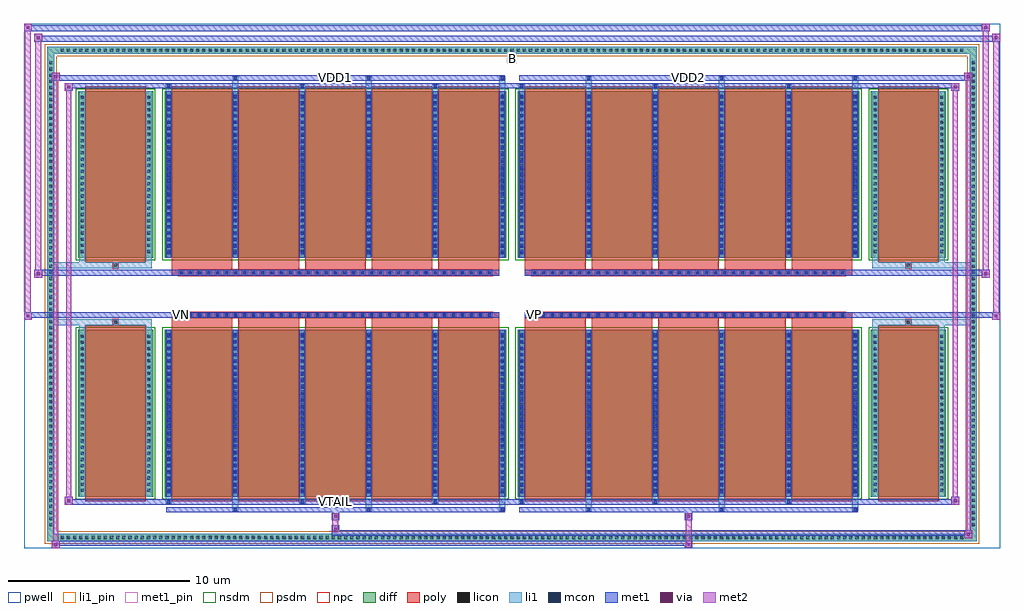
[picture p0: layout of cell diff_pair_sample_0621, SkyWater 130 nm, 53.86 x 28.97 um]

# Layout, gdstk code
import gdstk
lib = gdstk.Library(unit=1e-6, precision=5e-09)
def R(c, l, rs):  # rectangles x0, y0, x1, y1
    for r in rs: c.add(gdstk.rectangle(r[:2], r[2:], *l))
def A(c, l, x, y, w, h, nx, ny, dx, dy):  # array of equal rectangles
    R(c, l, [(x+i*dx, y+j*dy, x+i*dx+w, y+j*dy+h) for i in range(nx) for j in range(ny)])
def P(c, l, *ps):  # polygons
    for p in ps: c.add(gdstk.Polygon(p, *l))
pwell = (64, 44)
diff = (65, 20)
poly = (66, 20)
licon = (66, 44)
li1_pin = (67, 16)
li1 = (67, 20)
mcon = (67, 44)
met1_pin = (68, 16)
met1 = (68, 20)
via = (68, 44)
met2 = (69, 20)
nsdm = (93, 44)
psdm = (94, 20)
npc = (95, 20)

diff_pair_sample_0621 = lib.new_cell('diff_pair_sample_0621')
R(diff_pair_sample_0621, pwell, [(-26.93,-14.05,26.93,14.92), (-24.25,-12.24,-0.01,-0.8), (0.01,-12.24,24.25,-0.8), (-24.25,0.8,-0.01,12.24), (0.01,0.8,24.25,12.24)])
A(diff_pair_sample_0621, diff, -25.025, -13.65, 0.41, 0.41, 147, 2, 0.34, 26.89)
A(diff_pair_sample_0621, diff, -25.66, -12.955, 0.41, 0.41, 1, 76, 0, 0.34)
A(diff_pair_sample_0621, diff, 25.25, -12.955, 0.41, 0.41, 1, 76, 0, 0.34)
R(diff_pair_sample_0621, diff, [(-25.025,-13.65,25.025,-13.24), (-25.66,-12.955,-25.25,12.955), (25.25,-12.955,25.66,12.955), (-23.94,-11.195,-19.81,-1.985), (-19.17,-11.195,-0.32,-1.985), (0.32,-11.195,19.17,-1.985), (19.81,-11.195,23.94,-1.985), (-23.94,1.985,-19.81,11.195), (-19.17,1.985,-0.32,11.195), (0.32,1.985,19.17,11.195), (19.81,1.985,23.94,11.195), (-25.025,13.24,25.025,13.65)])
P(diff_pair_sample_0621, diff, [(25.66,13.65),(-25.66,13.65),(-25.66,-13.24),(-25.25,-13.24),(-25.25,13.24),(25.25,13.24),(25.25,-13.24),(-25.25,-13.24),(-25.66,-13.24),(-25.66,-13.65),(25.66,-13.65)])
A(diff_pair_sample_0621, poly, -18.78, -11.445, 3.35, 9.71, 5, 2, 3.68, 13.18)
A(diff_pair_sample_0621, poly, 0.71, -11.445, 3.35, 9.71, 5, 2, 3.68, 13.18)
A(diff_pair_sample_0621, poly, -18.78, -1.735, 3.35, 0.405, 5, 2, 3.68, 3.065)
A(diff_pair_sample_0621, poly, 0.71, -1.735, 3.35, 0.405, 5, 2, 3.68, 3.065)
A(diff_pair_sample_0621, poly, -18.41, -1.33, 0.33, 0.33, 35, 2, 0.5, 2.33)
A(diff_pair_sample_0621, poly, 1.08, -1.33, 0.33, 0.33, 35, 2, 0.5, 2.33)
R(diff_pair_sample_0621, poly, [(-23.55,-11.445,-20.2,-1.735), (20.2,-11.445,23.55,-1.735), (-22.04,-1.735,-21.71,-1.405), (-22.04,-1.735,-21.71,-1.405), (21.71,-1.735,22.04,-1.405), (21.71,-1.735,22.04,-1.405), (-18.78,-1.33,-0.71,-1), (0.71,-1.33,18.78,-1), (-18.78,1,-0.71,1.33), (0.71,1,18.78,1.33), (-22.04,1.405,-21.71,1.735), (-22.04,1.405,-21.71,1.735), (21.71,1.405,22.04,1.735), (21.71,1.405,22.04,1.735), (-23.55,1.735,-20.2,11.445), (20.2,1.735,23.55,11.445)])
A(diff_pair_sample_0621, licon, -24.905, -13.53, 0.17, 0.17, 147, 2, 0.34, 26.89)
A(diff_pair_sample_0621, licon, -25.54, -12.835, 0.17, 0.17, 1, 76, 0, 0.34)
A(diff_pair_sample_0621, licon, 25.37, -12.835, 0.17, 0.17, 1, 76, 0, 0.34)
A(diff_pair_sample_0621, licon, -23.8, -10.925, 0.17, 0.17, 1, 26, 0, 0.34)
A(diff_pair_sample_0621, licon, -20.12, -10.925, 0.17, 0.17, 1, 26, 0, 0.34)
A(diff_pair_sample_0621, licon, -19.03, -10.925, 0.17, 0.17, 6, 26, 3.68, 0.34)
A(diff_pair_sample_0621, licon, 0.46, -10.925, 0.17, 0.17, 6, 26, 3.68, 0.34)
A(diff_pair_sample_0621, licon, 19.95, -10.925, 0.17, 0.17, 1, 26, 0, 0.34)
A(diff_pair_sample_0621, licon, 23.63, -10.925, 0.17, 0.17, 1, 26, 0, 0.34)
A(diff_pair_sample_0621, licon, -18.33, -1.25, 0.17, 0.17, 35, 2, 0.5, 2.33)
A(diff_pair_sample_0621, licon, 1.16, -1.25, 0.17, 0.17, 35, 2, 0.5, 2.33)
A(diff_pair_sample_0621, licon, -23.8, 2.255, 0.17, 0.17, 1, 26, 0, 0.34)
A(diff_pair_sample_0621, licon, -20.12, 2.255, 0.17, 0.17, 1, 26, 0, 0.34)
A(diff_pair_sample_0621, licon, -19.03, 2.255, 0.17, 0.17, 6, 26, 3.68, 0.34)
A(diff_pair_sample_0621, licon, 0.46, 2.255, 0.17, 0.17, 6, 26, 3.68, 0.34)
A(diff_pair_sample_0621, licon, 19.95, 2.255, 0.17, 0.17, 1, 26, 0, 0.34)
A(diff_pair_sample_0621, licon, 23.63, 2.255, 0.17, 0.17, 1, 26, 0, 0.34)
R(diff_pair_sample_0621, licon, [(-21.96,-1.655,-21.79,-1.485), (21.79,-1.655,21.96,-1.485), (-21.96,1.485,-21.79,1.655), (21.79,1.485,21.96,1.655)])
R(diff_pair_sample_0621, li1_pin, [(-0.25,12.74,0.25,13.24)])
A(diff_pair_sample_0621, li1, -24.985, -13.61, 0.33, 0.33, 147, 2, 0.34, 26.89)
A(diff_pair_sample_0621, li1, -25.62, -12.915, 0.33, 0.33, 1, 76, 0, 0.34)
A(diff_pair_sample_0621, li1, 25.29, -12.915, 0.33, 0.33, 1, 76, 0, 0.34)
A(diff_pair_sample_0621, li1, -15.43, -12, 0.33, 0.805, 3, 2, 7.36, 23.195)
A(diff_pair_sample_0621, li1, -15.35, -12, 0.17, 0.17, 3, 2, 7.36, 23.83)
A(diff_pair_sample_0621, li1, 4.06, -12, 0.33, 0.805, 3, 2, 7.36, 23.195)
A(diff_pair_sample_0621, li1, 4.14, -12, 0.17, 0.17, 3, 2, 7.36, 23.83)
A(diff_pair_sample_0621, li1, -19.11, -11.57, 0.33, 0.375, 3, 2, 7.36, 22.765)
A(diff_pair_sample_0621, li1, -19.03, -11.57, 0.17, 0.17, 3, 2, 7.36, 22.97)
A(diff_pair_sample_0621, li1, 0.38, -11.57, 0.33, 0.375, 3, 2, 7.36, 22.765)
A(diff_pair_sample_0621, li1, 0.46, -11.57, 0.17, 0.17, 3, 2, 7.36, 22.97)
A(diff_pair_sample_0621, li1, -19.11, -11.195, 0.33, 9.21, 6, 2, 3.68, 13.18)
A(diff_pair_sample_0621, li1, 0.38, -11.195, 0.33, 9.21, 6, 2, 3.68, 13.18)
A(diff_pair_sample_0621, li1, -23.88, -11.005, 0.33, 0.33, 1, 26, 0, 0.34)
A(diff_pair_sample_0621, li1, -20.2, -11.005, 0.33, 0.33, 1, 26, 0, 0.34)
A(diff_pair_sample_0621, li1, -19.11, -11.005, 0.33, 0.33, 6, 26, 3.68, 0.34)
A(diff_pair_sample_0621, li1, 0.38, -11.005, 0.33, 0.33, 6, 26, 3.68, 0.34)
A(diff_pair_sample_0621, li1, 19.87, -11.005, 0.33, 0.33, 1, 26, 0, 0.34)
A(diff_pair_sample_0621, li1, 23.55, -11.005, 0.33, 0.33, 1, 26, 0, 0.34)
A(diff_pair_sample_0621, li1, -19.03, -10.995, 0.17, 0.17, 6, 25, 3.68, 0.36)
A(diff_pair_sample_0621, li1, -19.03, -10.995, 0.17, 8.81, 6, 2, 3.68, 13.18)
A(diff_pair_sample_0621, li1, 0.46, -10.995, 0.17, 0.17, 6, 25, 3.68, 0.36)
A(diff_pair_sample_0621, li1, 0.46, -10.995, 0.17, 8.81, 6, 2, 3.68, 13.18)
A(diff_pair_sample_0621, li1, -18.41, -1.33, 0.33, 0.33, 35, 2, 0.5, 2.33)
A(diff_pair_sample_0621, li1, 1.08, -1.33, 0.33, 0.33, 35, 2, 0.5, 2.33)
A(diff_pair_sample_0621, li1, -23.88, 2.175, 0.33, 0.33, 1, 26, 0, 0.34)
A(diff_pair_sample_0621, li1, -20.2, 2.175, 0.33, 0.33, 1, 26, 0, 0.34)
A(diff_pair_sample_0621, li1, -19.11, 2.175, 0.33, 0.33, 6, 26, 3.68, 0.34)
A(diff_pair_sample_0621, li1, 0.38, 2.175, 0.33, 0.33, 6, 26, 3.68, 0.34)
A(diff_pair_sample_0621, li1, 19.87, 2.175, 0.33, 0.33, 1, 26, 0, 0.34)
A(diff_pair_sample_0621, li1, 23.55, 2.175, 0.33, 0.33, 1, 26, 0, 0.34)
A(diff_pair_sample_0621, li1, -19.03, 2.185, 0.17, 0.17, 6, 25, 3.68, 0.36)
A(diff_pair_sample_0621, li1, 0.46, 2.185, 0.17, 0.17, 6, 25, 3.68, 0.36)
R(diff_pair_sample_0621, li1, [(-25.66,-13.65,-25.25,-13.24), (-25.66,-13.65,-25.25,-13.24), (-25.25,-13.65,25.25,-13.24), (25.25,-13.65,25.66,-13.24), (25.25,-13.65,25.66,-13.24), (-25.66,-13.24,-25.25,13.24), (25.25,-13.24,25.66,13.24), (-23.88,-11.195,-23.55,-1.985), (-20.2,-11.195,-19.87,-1.985), (19.87,-11.195,20.2,-1.985), (23.55,-11.195,23.88,-1.985), (-23.88,-1.985,-23.55,-1.405), (-20.2,-1.985,-19.87,-1.405), (19.87,-1.985,20.2,-1.405), (23.55,-1.985,23.88,-1.405), (-25.66,-1.735,-22.04,-1.405), (-23.88,-1.735,-22.04,-1.405), (-22.04,-1.735,-21.71,-1.405), (-21.71,-1.735,-19.87,-1.405), (19.87,-1.735,21.71,-1.405), (21.71,-1.735,22.04,-1.405), (21.71,-1.735,25.66,-1.405), (22.04,-1.735,23.88,-1.405), (-25.66,1.405,-22.04,1.735), (-23.88,1.405,-22.04,1.735), (-23.88,1.405,-23.55,1.985), (-22.04,1.405,-21.71,1.735), (-21.71,1.405,-19.87,1.735), (-20.2,1.405,-19.87,1.985), (19.87,1.405,21.71,1.735), (19.87,1.405,20.2,1.985), (21.71,1.405,22.04,1.735), (21.71,1.405,25.66,1.735), (22.04,1.405,23.88,1.735), (23.55,1.405,23.88,1.985), (-23.88,1.985,-23.55,11.195), (-20.2,1.985,-19.87,11.195), (19.87,1.985,20.2,11.195), (23.55,1.985,23.88,11.195), (-25.66,13.24,-25.25,13.65), (-25.66,13.24,-25.25,13.65), (-25.25,13.24,25.25,13.65), (25.25,13.24,25.66,13.65), (25.25,13.24,25.66,13.65)])
A(diff_pair_sample_0621, mcon, -15.35, -12, 0.17, 0.17, 3, 2, 7.36, 23.83)
A(diff_pair_sample_0621, mcon, 4.14, -12, 0.17, 0.17, 3, 2, 7.36, 23.83)
A(diff_pair_sample_0621, mcon, -19.03, -11.57, 0.17, 0.17, 3, 2, 7.36, 22.97)
A(diff_pair_sample_0621, mcon, 0.46, -11.57, 0.17, 0.17, 3, 2, 7.36, 22.97)
A(diff_pair_sample_0621, mcon, -19.03, -10.995, 0.17, 0.17, 6, 25, 3.68, 0.36)
A(diff_pair_sample_0621, mcon, 0.46, -10.995, 0.17, 0.17, 6, 25, 3.68, 0.36)
A(diff_pair_sample_0621, mcon, -18.33, -1.25, 0.17, 0.17, 35, 2, 0.5, 2.33)
A(diff_pair_sample_0621, mcon, 1.16, -1.25, 0.17, 0.17, 35, 2, 0.5, 2.33)
A(diff_pair_sample_0621, mcon, -19.03, 2.185, 0.17, 0.17, 6, 25, 3.68, 0.36)
A(diff_pair_sample_0621, mcon, 0.46, 2.185, 0.17, 0.17, 6, 25, 3.68, 0.36)
R(diff_pair_sample_0621, met1_pin, [(-9.88,-11.61,-9.61,-11.34), (-18.38,-1.29,-18.11,-1.02), (1.11,-1.29,1.38,-1.02), (-9.88,11.79,-9.61,12.06), (9.61,11.79,9.88,12.06)])
A(diff_pair_sample_0621, met1, -15.41, -12.06, 0.29, 0.29, 3, 2, 7.36, 23.83)
A(diff_pair_sample_0621, met1, 4.08, -12.06, 0.29, 0.29, 3, 2, 7.36, 23.83)
A(diff_pair_sample_0621, met1, -19.09, -11.63, 0.29, 0.29, 3, 2, 7.36, 22.97)
A(diff_pair_sample_0621, met1, 0.4, -11.63, 0.29, 0.29, 3, 2, 7.36, 22.97)
A(diff_pair_sample_0621, met1, -19.09, -11.195, 0.29, 9.21, 6, 2, 3.68, 13.18)
A(diff_pair_sample_0621, met1, 0.4, -11.195, 0.29, 9.21, 6, 2, 3.68, 13.18)
A(diff_pair_sample_0621, met1, -19.09, -11.055, 0.29, 0.29, 6, 25, 3.68, 0.36)
A(diff_pair_sample_0621, met1, 0.4, -11.055, 0.29, 0.29, 6, 25, 3.68, 0.36)
A(diff_pair_sample_0621, met1, -18.39, -1.31, 0.29, 0.29, 35, 2, 0.5, 2.33)
A(diff_pair_sample_0621, met1, 1.1, -1.31, 0.29, 0.29, 35, 2, 0.5, 2.33)
A(diff_pair_sample_0621, met1, -19.09, 2.125, 0.29, 0.29, 6, 25, 3.68, 0.36)
A(diff_pair_sample_0621, met1, 0.4, 2.125, 0.29, 0.29, 6, 25, 3.68, 0.36)
R(diff_pair_sample_0621, met1, [(-25.39,-14.05,-24.96,-13.62), (9.53,-14.05,9.96,-13.62), (-25.39,-13.91,9.96,-13.62), (24.96,-13.48,25.39,-13.05), (-9.96,-13.34,25.39,-13.05), (-9.96,-13.2,-9.53,-12.77), (-9.96,-12.49,-9.53,-12.06), (9.53,-12.49,9.96,-12.06), (-19.09,-12.06,-0.4,-11.77), (0.4,-12.06,19.09,-11.77), (-24.68,-11.63,-24.25,-11.2), (-24.68,-11.63,-19.09,-11.34), (-19.09,-11.63,-0.4,-11.34), (-0.4,-11.63,0.4,-11.34), (0.4,-11.63,19.09,-11.34), (19.09,-11.63,24.68,-11.34), (24.25,-11.63,24.68,-11.2), (-26.93,-1.43,-26.5,-1), (26.5,-1.43,26.93,-1), (-26.93,-1.33,-0.71,-1), (-18.78,-1.33,-0.71,-1), (0.71,-1.33,18.78,-1), (0.71,-1.33,26.93,-1), (-26.36,0.9,-25.93,1.33), (25.93,0.9,26.36,1.33), (-26.36,1,-18.78,1.33), (-18.78,1,-0.71,1.33), (0.71,1,18.78,1.33), (18.78,1,26.36,1.33), (-24.68,11.2,-24.25,11.63), (24.25,11.2,24.68,11.63), (-24.68,11.34,-19.09,11.63), (-19.09,11.34,-0.4,11.63), (-0.4,11.34,0.4,11.63), (0.4,11.34,19.09,11.63), (19.09,11.34,24.68,11.63), (-25.39,11.77,-24.96,12.2), (-25.39,11.77,-19.09,12.06), (-19.09,11.77,-0.4,12.06), (0.4,11.77,19.09,12.06), (19.09,11.77,25.39,12.06), (24.96,11.77,25.39,12.2), (-26.36,13.92,-25.93,14.35), (-26.36,13.92,-24.25,14.25), (-24.25,13.92,24.25,14.25), (24.25,13.92,26.93,14.25), (26.5,13.92,26.93,14.35), (-26.93,14.49,-26.5,14.92), (-26.93,14.49,-24.25,14.82), (-24.25,14.49,24.25,14.82), (24.25,14.49,26.36,14.82), (25.93,14.49,26.36,14.92)])
R(diff_pair_sample_0621, via, [(-25.25,-13.91,-25.1,-13.76), (9.67,-13.91,9.82,-13.76), (25.1,-13.34,25.25,-13.19), (-9.82,-13.06,-9.67,-12.91), (-9.82,-12.35,-9.67,-12.2), (9.67,-12.35,9.82,-12.2), (-24.54,-11.49,-24.39,-11.34), (24.39,-11.49,24.54,-11.34), (-26.79,-1.29,-26.64,-1.14), (26.64,-1.29,26.79,-1.14), (-26.22,1.04,-26.07,1.19), (26.07,1.04,26.22,1.19), (-24.54,11.34,-24.39,11.49), (24.39,11.34,24.54,11.49), (-25.25,11.91,-25.1,12.06), (25.1,11.91,25.25,12.06), (-26.22,14.06,-26.07,14.21), (26.64,14.06,26.79,14.21), (-26.79,14.63,-26.64,14.78), (26.07,14.63,26.22,14.78)])
R(diff_pair_sample_0621, met2, [(-25.39,-14.05,-24.96,-13.62), (-25.32,-14.05,-25.03,12.2), (-25.03,-14.05,-24.96,-13.62), (-25.34,-14,-25.01,-13.67), (9.58,-14,9.91,-13.67), (9.58,-13.67,9.91,-12.44), (24.96,-13.48,25.39,-13.05), (25.03,-13.48,25.32,12.2), (25.32,-13.48,25.39,-13.05), (25.01,-13.43,25.34,-13.1), (-9.91,-13.15,-9.58,-12.82), (-9.91,-12.82,-9.58,-12.44), (-9.91,-12.44,-9.58,-12.11), (9.58,-12.44,9.91,-12.11), (-24.68,-11.63,-24.25,-11.2), (-24.61,-11.63,-24.32,11.63), (-24.32,-11.63,-24.25,-11.2), (24.25,-11.63,24.68,-11.2), (24.32,-11.63,24.61,11.63), (24.61,-11.63,24.68,-11.2), (-24.63,-11.58,-24.3,-11.25), (24.3,-11.58,24.63,-11.25), (-26.93,-1.43,-26.5,-1), (-26.88,-1.43,-26.55,14.92), (-26.55,-1.43,-26.5,-1), (26.5,-1.43,26.93,-1), (26.55,-1.43,26.88,14.35), (26.88,-1.43,26.93,-1), (-26.88,-1.38,-26.55,-1.05), (26.55,-1.38,26.88,-1.05), (-26.36,0.9,-25.93,1.33), (-26.31,0.9,-25.98,14.35), (-25.98,0.9,-25.93,1.33), (25.93,0.9,26.36,1.33), (25.98,0.9,26.31,14.92), (26.31,0.9,26.36,1.33), (-26.31,0.95,-25.98,1.28), (25.98,0.95,26.31,1.28), (-24.68,11.2,-24.25,11.63), (-24.32,11.2,-24.25,11.63), (24.25,11.2,24.68,11.63), (24.61,11.2,24.68,11.63), (-24.63,11.25,-24.3,11.58), (24.3,11.25,24.63,11.58), (-25.39,11.77,-24.96,12.2), (-25.03,11.77,-24.96,12.2), (24.96,11.77,25.39,12.2), (25.32,11.77,25.39,12.2), (-25.34,11.82,-25.01,12.15), (25.01,11.82,25.34,12.15), (-26.36,13.92,-25.93,14.35), (-25.98,13.92,-25.93,14.35), (26.5,13.92,26.93,14.35), (26.88,13.92,26.93,14.35), (-26.31,13.97,-25.98,14.3), (26.55,13.97,26.88,14.3), (-26.93,14.49,-26.5,14.92), (-26.55,14.49,-26.5,14.92), (25.93,14.49,26.36,14.92), (26.31,14.49,26.36,14.92), (-26.88,14.54,-26.55,14.87), (25.98,14.54,26.31,14.87)])
R(diff_pair_sample_0621, nsdm, [(-24.07,-11.325,-19.68,-1.855), (-19.3,-11.325,-0.19,-1.855), (0.19,-11.325,19.3,-1.855), (19.68,-11.325,24.07,-1.855), (-24.07,1.855,-19.68,11.325), (-19.3,1.855,-0.19,11.325), (0.19,1.855,19.3,11.325), (19.68,1.855,24.07,11.325)])
P(diff_pair_sample_0621, psdm, [(25.79,13.78),(-25.79,13.78),(-25.79,-13.11),(-25.12,-13.11),(-25.12,13.11),(25.12,13.11),(25.12,-13.11),(-25.12,-13.11),(-25.79,-13.11),(-25.79,-13.78),(25.79,-13.78)])
A(diff_pair_sample_0621, npc, -18.43, -1.35, 0.37, 0.37, 35, 2, 0.5, 2.33)
A(diff_pair_sample_0621, npc, 1.06, -1.35, 0.37, 0.37, 35, 2, 0.5, 2.33)
R(diff_pair_sample_0621, npc, [(-22.06,-1.755,-21.69,-1.385), (21.69,-1.755,22.06,-1.385), (-18.43,-1.35,-17.56,-0.98), (-18.43,-1.35,-17.56,-0.98), (-17.93,-1.35,-17.06,-0.98), (-17.93,-1.35,-17.06,-0.98), (-17.43,-1.35,-16.56,-0.98), (-17.43,-1.35,-16.56,-0.98), (-16.93,-1.35,-16.06,-0.98), (-16.93,-1.35,-16.06,-0.98), (-16.43,-1.35,-15.56,-0.98), (-16.43,-1.35,-15.56,-0.98), (-15.93,-1.35,-15.06,-0.98), (-15.93,-1.35,-15.06,-0.98), (-15.43,-1.35,-14.56,-0.98), (-15.43,-1.35,-14.56,-0.98), (-14.93,-1.35,-14.06,-0.98), (-14.93,-1.35,-14.06,-0.98), (-14.43,-1.35,-13.56,-0.98), (-14.43,-1.35,-13.56,-0.98), (-13.93,-1.35,-13.06,-0.98), (-13.93,-1.35,-13.06,-0.98), (-13.43,-1.35,-12.56,-0.98), (-13.43,-1.35,-12.56,-0.98), (-12.93,-1.35,-12.06,-0.98), (-12.93,-1.35,-12.06,-0.98), (-12.43,-1.35,-11.56,-0.98), (-12.43,-1.35,-11.56,-0.98), (-11.93,-1.35,-11.06,-0.98), (-11.93,-1.35,-11.06,-0.98), (-11.43,-1.35,-10.56,-0.98), (-11.43,-1.35,-10.56,-0.98), (-10.93,-1.35,-10.06,-0.98), (-10.93,-1.35,-10.06,-0.98), (-10.43,-1.35,-9.56,-0.98), (-10.43,-1.35,-9.56,-0.98), (-9.93,-1.35,-9.06,-0.98), (-9.93,-1.35,-9.06,-0.98), (-9.43,-1.35,-8.56,-0.98), (-9.43,-1.35,-8.56,-0.98), (-8.93,-1.35,-8.06,-0.98), (-8.93,-1.35,-8.06,-0.98), (-8.43,-1.35,-7.56,-0.98), (-8.43,-1.35,-7.56,-0.98), (-7.93,-1.35,-7.06,-0.98), (-7.93,-1.35,-7.06,-0.98), (-7.43,-1.35,-6.56,-0.98), (-7.43,-1.35,-6.56,-0.98), (-6.93,-1.35,-6.06,-0.98), (-6.93,-1.35,-6.06,-0.98), (-6.43,-1.35,-5.56,-0.98), (-6.43,-1.35,-5.56,-0.98), (-5.93,-1.35,-5.06,-0.98), (-5.93,-1.35,-5.06,-0.98), (-5.43,-1.35,-4.56,-0.98), (-5.43,-1.35,-4.56,-0.98), (-4.93,-1.35,-4.06,-0.98), (-4.93,-1.35,-4.06,-0.98), (-4.43,-1.35,-3.56,-0.98), (-4.43,-1.35,-3.56,-0.98), (-3.93,-1.35,-3.06,-0.98), (-3.93,-1.35,-3.06,-0.98), (-3.43,-1.35,-2.56,-0.98), (-3.43,-1.35,-2.56,-0.98), (-2.93,-1.35,-2.06,-0.98), (-2.93,-1.35,-2.06,-0.98), (-2.43,-1.35,-1.56,-0.98), (-2.43,-1.35,-1.56,-0.98), (-1.93,-1.35,-1.06,-0.98), (-1.93,-1.35,-1.06,-0.98), (1.06,-1.35,1.93,-0.98), (1.06,-1.35,1.93,-0.98), (1.56,-1.35,2.43,-0.98), (1.56,-1.35,2.43,-0.98), (2.06,-1.35,2.93,-0.98), (2.06,-1.35,2.93,-0.98), (2.56,-1.35,3.43,-0.98), (2.56,-1.35,3.43,-0.98), (3.06,-1.35,3.93,-0.98), (3.06,-1.35,3.93,-0.98), (3.56,-1.35,4.43,-0.98), (3.56,-1.35,4.43,-0.98), (4.06,-1.35,4.93,-0.98), (4.06,-1.35,4.93,-0.98), (4.56,-1.35,5.43,-0.98), (4.56,-1.35,5.43,-0.98), (5.06,-1.35,5.93,-0.98), (5.06,-1.35,5.93,-0.98), (5.56,-1.35,6.43,-0.98), (5.56,-1.35,6.43,-0.98), (6.06,-1.35,6.93,-0.98), (6.06,-1.35,6.93,-0.98), (6.56,-1.35,7.43,-0.98), (6.56,-1.35,7.43,-0.98), (7.06,-1.35,7.93,-0.98), (7.06,-1.35,7.93,-0.98), (7.56,-1.35,8.43,-0.98), (7.56,-1.35,8.43,-0.98), (8.06,-1.35,8.93,-0.98), (8.06,-1.35,8.93,-0.98), (8.56,-1.35,9.43,-0.98), (8.56,-1.35,9.43,-0.98), (9.06,-1.35,9.93,-0.98), (9.06,-1.35,9.93,-0.98), (9.56,-1.35,10.43,-0.98), (9.56,-1.35,10.43,-0.98), (10.06,-1.35,10.93,-0.98), (10.06,-1.35,10.93,-0.98), (10.56,-1.35,11.43,-0.98), (10.56,-1.35,11.43,-0.98), (11.06,-1.35,11.93,-0.98), (11.06,-1.35,11.93,-0.98), (11.56,-1.35,12.43,-0.98), (11.56,-1.35,12.43,-0.98), (12.06,-1.35,12.93,-0.98), (12.06,-1.35,12.93,-0.98), (12.56,-1.35,13.43,-0.98), (12.56,-1.35,13.43,-0.98), (13.06,-1.35,13.93,-0.98), (13.06,-1.35,13.93,-0.98), (13.56,-1.35,14.43,-0.98), (13.56,-1.35,14.43,-0.98), (14.06,-1.35,14.93,-0.98), (14.06,-1.35,14.93,-0.98), (14.56,-1.35,15.43,-0.98), (14.56,-1.35,15.43,-0.98), (15.06,-1.35,15.93,-0.98), (15.06,-1.35,15.93,-0.98), (15.56,-1.35,16.43,-0.98), (15.56,-1.35,16.43,-0.98), (16.06,-1.35,16.93,-0.98), (16.06,-1.35,16.93,-0.98), (16.56,-1.35,17.43,-0.98), (16.56,-1.35,17.43,-0.98), (17.06,-1.35,17.93,-0.98), (17.06,-1.35,17.93,-0.98), (17.56,-1.35,18.43,-0.98), (17.56,-1.35,18.43,-0.98), (-18.43,0.98,-17.56,1.35), (-18.43,0.98,-17.56,1.35), (-17.93,0.98,-17.06,1.35), (-17.93,0.98,-17.06,1.35), (-17.43,0.98,-16.56,1.35), (-17.43,0.98,-16.56,1.35), (-16.93,0.98,-16.06,1.35), (-16.93,0.98,-16.06,1.35), (-16.43,0.98,-15.56,1.35), (-16.43,0.98,-15.56,1.35), (-15.93,0.98,-15.06,1.35), (-15.93,0.98,-15.06,1.35), (-15.43,0.98,-14.56,1.35), (-15.43,0.98,-14.56,1.35), (-14.93,0.98,-14.06,1.35), (-14.93,0.98,-14.06,1.35), (-14.43,0.98,-13.56,1.35), (-14.43,0.98,-13.56,1.35), (-13.93,0.98,-13.06,1.35), (-13.93,0.98,-13.06,1.35), (-13.43,0.98,-12.56,1.35), (-13.43,0.98,-12.56,1.35), (-12.93,0.98,-12.06,1.35), (-12.93,0.98,-12.06,1.35), (-12.43,0.98,-11.56,1.35), (-12.43,0.98,-11.56,1.35), (-11.93,0.98,-11.06,1.35), (-11.93,0.98,-11.06,1.35), (-11.43,0.98,-10.56,1.35), (-11.43,0.98,-10.56,1.35), (-10.93,0.98,-10.06,1.35), (-10.93,0.98,-10.06,1.35), (-10.43,0.98,-9.56,1.35), (-10.43,0.98,-9.56,1.35), (-9.93,0.98,-9.06,1.35), (-9.93,0.98,-9.06,1.35), (-9.43,0.98,-8.56,1.35), (-9.43,0.98,-8.56,1.35), (-8.93,0.98,-8.06,1.35), (-8.93,0.98,-8.06,1.35), (-8.43,0.98,-7.56,1.35), (-8.43,0.98,-7.56,1.35), (-7.93,0.98,-7.06,1.35), (-7.93,0.98,-7.06,1.35), (-7.43,0.98,-6.56,1.35), (-7.43,0.98,-6.56,1.35), (-6.93,0.98,-6.06,1.35), (-6.93,0.98,-6.06,1.35), (-6.43,0.98,-5.56,1.35), (-6.43,0.98,-5.56,1.35), (-5.93,0.98,-5.06,1.35), (-5.93,0.98,-5.06,1.35), (-5.43,0.98,-4.56,1.35), (-5.43,0.98,-4.56,1.35), (-4.93,0.98,-4.06,1.35), (-4.93,0.98,-4.06,1.35), (-4.43,0.98,-3.56,1.35), (-4.43,0.98,-3.56,1.35), (-3.93,0.98,-3.06,1.35), (-3.93,0.98,-3.06,1.35), (-3.43,0.98,-2.56,1.35), (-3.43,0.98,-2.56,1.35), (-2.93,0.98,-2.06,1.35), (-2.93,0.98,-2.06,1.35), (-2.43,0.98,-1.56,1.35), (-2.43,0.98,-1.56,1.35), (-1.93,0.98,-1.06,1.35), (-1.93,0.98,-1.06,1.35), (1.06,0.98,1.93,1.35), (1.06,0.98,1.93,1.35), (1.56,0.98,2.43,1.35), (1.56,0.98,2.43,1.35), (2.06,0.98,2.93,1.35), (2.06,0.98,2.93,1.35), (2.56,0.98,3.43,1.35), (2.56,0.98,3.43,1.35), (3.06,0.98,3.93,1.35), (3.06,0.98,3.93,1.35), (3.56,0.98,4.43,1.35), (3.56,0.98,4.43,1.35), (4.06,0.98,4.93,1.35), (4.06,0.98,4.93,1.35), (4.56,0.98,5.43,1.35), (4.56,0.98,5.43,1.35), (5.06,0.98,5.93,1.35), (5.06,0.98,5.93,1.35), (5.56,0.98,6.43,1.35), (5.56,0.98,6.43,1.35), (6.06,0.98,6.93,1.35), (6.06,0.98,6.93,1.35), (6.56,0.98,7.43,1.35), (6.56,0.98,7.43,1.35), (7.06,0.98,7.93,1.35), (7.06,0.98,7.93,1.35), (7.56,0.98,8.43,1.35), (7.56,0.98,8.43,1.35), (8.06,0.98,8.93,1.35), (8.06,0.98,8.93,1.35), (8.56,0.98,9.43,1.35), (8.56,0.98,9.43,1.35), (9.06,0.98,9.93,1.35), (9.06,0.98,9.93,1.35), (9.56,0.98,10.43,1.35), (9.56,0.98,10.43,1.35), (10.06,0.98,10.93,1.35), (10.06,0.98,10.93,1.35), (10.56,0.98,11.43,1.35), (10.56,0.98,11.43,1.35), (11.06,0.98,11.93,1.35), (11.06,0.98,11.93,1.35), (11.56,0.98,12.43,1.35), (11.56,0.98,12.43,1.35), (12.06,0.98,12.93,1.35), (12.06,0.98,12.93,1.35), (12.56,0.98,13.43,1.35), (12.56,0.98,13.43,1.35), (13.06,0.98,13.93,1.35), (13.06,0.98,13.93,1.35), (13.56,0.98,14.43,1.35), (13.56,0.98,14.43,1.35), (14.06,0.98,14.93,1.35), (14.06,0.98,14.93,1.35), (14.56,0.98,15.43,1.35), (14.56,0.98,15.43,1.35), (15.06,0.98,15.93,1.35), (15.06,0.98,15.93,1.35), (15.56,0.98,16.43,1.35), (15.56,0.98,16.43,1.35), (16.06,0.98,16.93,1.35), (16.06,0.98,16.93,1.35), (16.56,0.98,17.43,1.35), (16.56,0.98,17.43,1.35), (17.06,0.98,17.93,1.35), (17.06,0.98,17.93,1.35), (17.56,0.98,18.43,1.35), (17.56,0.98,18.43,1.35), (-22.06,1.385,-21.69,1.755), (21.69,1.385,22.06,1.755)])
diff_pair_sample_0621.add(gdstk.Label('VTAIL', (-9.745,-11.475), layer=68, texttype=5))
diff_pair_sample_0621.add(gdstk.Label('VN', (-18.245,-1.155), layer=68, texttype=5))
diff_pair_sample_0621.add(gdstk.Label('VP', (1.245,-1.155), layer=68, texttype=5))
diff_pair_sample_0621.add(gdstk.Label('B', (0,12.99), layer=67, texttype=5))
diff_pair_sample_0621.add(gdstk.Label('VDD2', (9.745,11.925), layer=68, texttype=5))
diff_pair_sample_0621.add(gdstk.Label('VDD1', (-9.745,11.925), layer=68, texttype=5))

lib.write_gds('diff_pair_sample_0621.gds')
